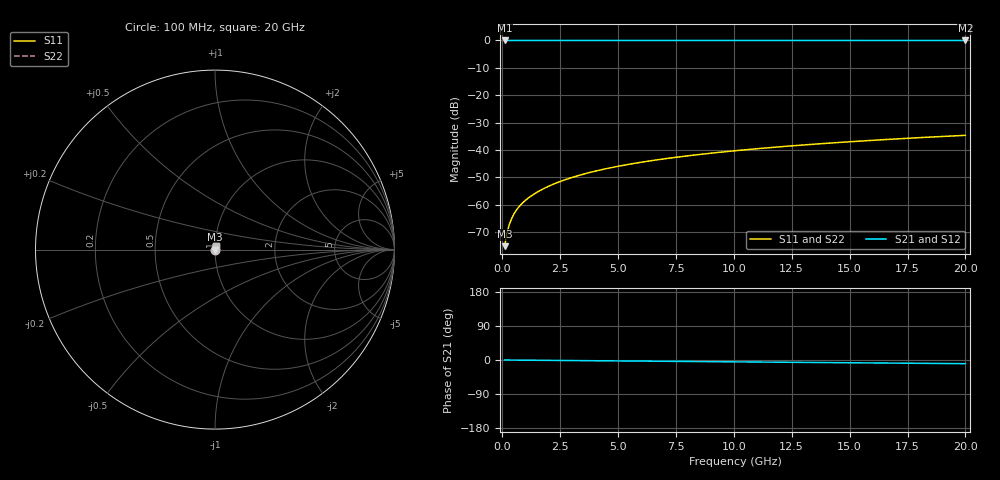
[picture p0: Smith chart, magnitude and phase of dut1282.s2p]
! Touchstone file exported from HFSS 2026.1.0
!  File:  C:/ffzhzh/LocalFiles/Ansys_Project_Files/temp_train_TSV_1282_1783194338_18472.aedt
!  Generated:  03:47:11 AM Jul  5, 2026
!  Design:  TSV
!  Project:  temp_train_TSV_1282_1783194338_18472
! Variables:
!  h_bsmrdl = 2um
!  h_ox = 20um
!  h_rdl = 5um
!  h_sub = 95.54um
!  h_tmrdl = 5um
!  h_tsv = 95.54um
!  h_via = 3um
!  l_bsmrdl = 300um
!  l_sub = 424.72um
!  l_tmrdl = 200um
!  m_sub = 200um
!  pitch = 56.13um
!  r_tsv = 12.36um
!  s_tmrdl = 10um
!  w_bsmrdl = 18um
!  w_sub = 500um
!  w_tmrdl = 12um
!  x_tsv_center1 = 206um
!  x_tsv_center2 = 524um
!  x_tsv_center3 = 736um
!  x_tsv_center4 = 1054um
!  x_tsv_center5 = 1266um
!  x_tsv_center6 = 1584um
# GHz S MA R 50.000000
! Terminal data exported
! Port[1] = TSV1_1_T1
! Port[2] = TSV1_1_T2
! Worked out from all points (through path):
!   200 points, 100 MHz to 20 GHz, reference 50 ohm
!   highest |S21| = 0.00 dB at 100 MHz (marker M1); lowest = 0.0 dB at 20 GHz (marker M2)
!   group delay of S21, straight-line fit = 1.34 ps
!   lowest |S11| = -75.2 dB at 100 MHz (marker M3), VSWR 1.00, Z = 50 + j0.0139 ohm
!   |S11| at or under -10 dB: start of sweep to end of sweep
!   |S22| runs from -75.2 to -34.7 dB; largest |S21 - S12| = 5.5e-15
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0.1  0.0001739 53.3  0.9999 -0.1  0.9999 -0.1  0.0001739 53.3
! Gamma 0 0 0 0
! Port Impedance 50 0 50 0
0.2  0.0002997 66.7  0.9999 -0.1  0.9999 -0.1  0.0002997 66.7
0.3  0.0004285 71.0  0.9999 -0.2  0.9999 -0.2  0.0004285 71.0
0.4  0.0005529 72.6  0.9998 -0.2  0.9998 -0.2  0.0005529 72.6
0.5  0.0006714 73.4  0.9998 -0.3  0.9998 -0.3  0.0006714 73.4
0.6  0.0007843 73.8  0.9998 -0.3  0.9998 -0.3  0.0007843 73.8
0.7  0.0008925 74.2  0.9998 -0.4  0.9998 -0.4  0.0008924 74.2
0.9  0.001099 74.8  0.9997 -0.4  0.9997 -0.4  0.001099 74.8
1.1  0.001296 75.5  0.9997 -0.5  0.9997 -0.5  0.001296 75.5
1.3  0.001491 76.2  0.9997 -0.6  0.9997 -0.6  0.001491 76.2
1.6  0.001779 77.1  0.9996 -0.8  0.9996 -0.8  0.001779 77.1
1.9  0.002067 77.9  0.9996 -0.9  0.9996 -0.9  0.002067 77.9
2.6  0.002739 79.2  0.9995 -1.3  0.9995 -1.3  0.002739 79.2
3.5  0.0036 80.0  0.9995 -1.7  0.9995 -1.7  0.0036 80.0
4.2  0.004264 80.3  0.9994 -2.0  0.9994 -2.0  0.004264 80.3
5  0.005016 80.5  0.9994 -2.4  0.9994 -2.4  0.005016 80.5
6.8  0.006684 80.4  0.9992 -3.3  0.9992 -3.3  0.006684 80.4
8.3  0.008057 80.2  0.9992 -4.0  0.9992 -4.0  0.008057 80.2
10.1  0.009691 79.8  0.9991 -4.9  0.9991 -4.9  0.009691 79.8
13.4  0.01266 78.9  0.9989 -6.5  0.9989 -6.5  0.01266 78.9
16.7  0.01558 77.7  0.9987 -8.1  0.9987 -8.1  0.01558 77.7
20  0.01846 76.4  0.9986 -9.7  0.9986 -9.7  0.01846 76.4
